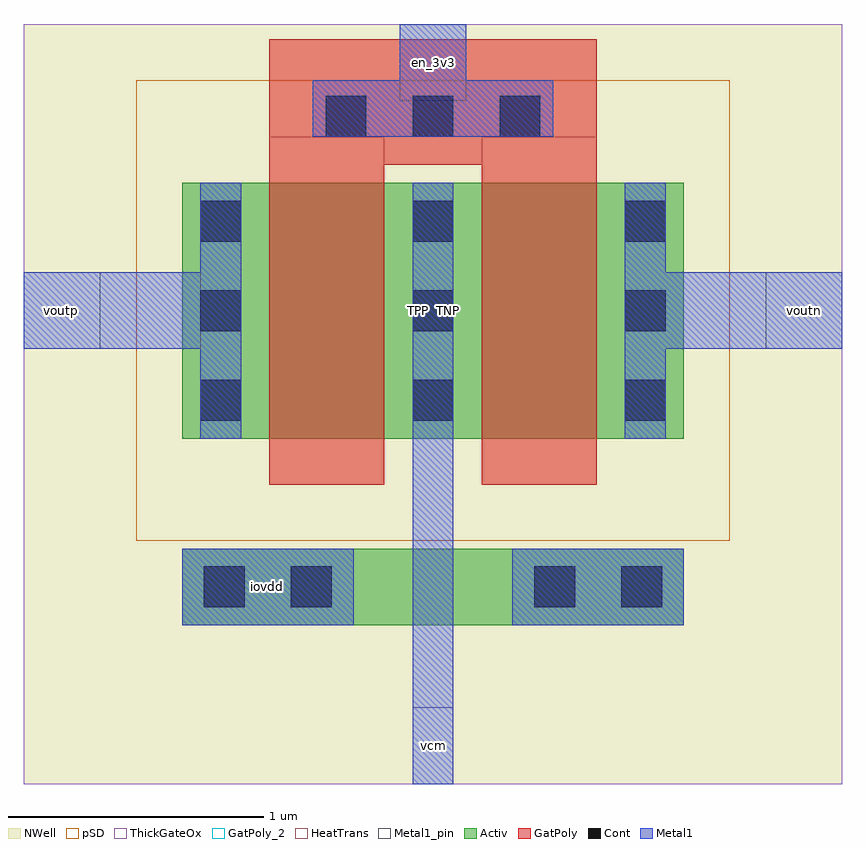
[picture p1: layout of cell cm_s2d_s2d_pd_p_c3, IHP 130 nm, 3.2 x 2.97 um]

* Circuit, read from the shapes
.subckt cm_s2d_s2d_pd_p_c3 en_3v3 iovdd vcm voutn voutp
XM1 vcm en_3v3 voutp iovdd sg13_hv_pmos w=1u l=0.45u
XM2 voutn en_3v3 vcm iovdd sg13_hv_pmos w=1u l=0.45u
.ends

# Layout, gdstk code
import gdstk
lib = gdstk.Library(unit=1e-6, precision=1e-09)
def R(c, l, rs):  # rectangles x0, y0, x1, y1
    for r in rs: c.add(gdstk.rectangle(r[:2], r[2:], *l))
def A(c, l, x, y, w, h, nx, ny, dx, dy):  # array of equal rectangles
    R(c, l, [(x+i*dx, y+j*dy, x+i*dx+w, y+j*dy+h) for i in range(nx) for j in range(ny)])
Activ = (1, 0)
GatPoly = (5, 0)
GatPoly_2 = (5, 2)
Cont = (6, 0)
Metal1 = (8, 0)
Metal1_pin = (8, 2)
pSD = (14, 0)
NWell = (31, 0)
ThickGateOx = (44, 0)
HeatTrans = (51, 0)

cm_s2d_pmoshv_w2_l0p45_n = lib.new_cell('cm_s2d_pmosHV_w2_l0p45_ng2')
A(cm_s2d_pmoshv_w2_l0p45_n, Activ, 0, 0, 0.3, 0.3, 3, 1, 0.83, 0)
R(cm_s2d_pmoshv_w2_l0p45_n, Activ, [(0,0,1.96,1)])
R(cm_s2d_pmoshv_w2_l0p45_n, GatPoly, [(0.34,-0.18,0.79,1.18), (1.17,-0.18,1.62,1.18)])
R(cm_s2d_pmoshv_w2_l0p45_n, GatPoly_2, [(0.34,-0.18,0.79,1.18)])
A(cm_s2d_pmoshv_w2_l0p45_n, Cont, 0.07, 0.07, 0.16, 0.16, 3, 3, 0.83, 0.35)
A(cm_s2d_pmoshv_w2_l0p45_n, Metal1, 0.07, 0, 0.16, 1, 3, 1, 0.83, 0)
R(cm_s2d_pmoshv_w2_l0p45_n, Metal1_pin, [(0.07,0,0.23,1), (0.9,0,1.06,1)])
R(cm_s2d_pmoshv_w2_l0p45_n, pSD, [(-0.18,-0.4,2.14,1.4)])
R(cm_s2d_pmoshv_w2_l0p45_n, NWell, [(-0.62,-0.62,2.58,1.62)])
R(cm_s2d_pmoshv_w2_l0p45_n, ThickGateOx, [(-0.62,-0.62,2.58,1.62)])
R(cm_s2d_pmoshv_w2_l0p45_n, HeatTrans, [(0.34,-0.18,0.79,1.18), (1.17,-0.18,1.62,1.18)])
cm_s2d_pmoshv_w2_l0p45_n.add(gdstk.Label('pmosHV', (0.565,0.5), layer=63, texttype=0))
cm_s2d_pmoshv_w2_l0p45_n.add(gdstk.Label('pmos', (0.565,0.5), layer=51, texttype=0))
cm_s2d_pmoshv_w2_l0p45_n.add(gdstk.Label('pmos', (1.395,0.5), layer=51, texttype=0))

cm_s2d_s2d_pd_p_c3 = lib.new_cell('cm_s2d_s2d_pd_p_c3')
R(cm_s2d_s2d_pd_p_c3, Activ, [(0.62,0.62,2.58,0.92)])
R(cm_s2d_s2d_pd_p_c3, GatPoly, [(0.96,2.35,1.41,2.91), (1.79,2.35,2.24,2.91), (1.41,2.42,1.79,2.91)])
A(cm_s2d_s2d_pd_p_c3, Cont, 1.18, 2.53, 0.16, 0.16, 3, 1, 0.34, 0)
R(cm_s2d_s2d_pd_p_c3, Cont, [(0.705,0.69,0.865,0.85), (1.045,0.69,1.205,0.85), (1.995,0.69,2.155,0.85), (2.335,0.69,2.495,0.85)])
R(cm_s2d_s2d_pd_p_c3, Metal1, [(1.52,0,1.68,1.35), (0.62,0.62,1.29,0.92), (1.91,0.62,2.58,0.92), (0,1.7,0.85,2), (2.35,1.7,3.2,2), (1.13,2.53,2.07,2.75), (1.47,2.53,1.73,2.97)])
R(cm_s2d_s2d_pd_p_c3, Metal1_pin, [(1.52,0,1.68,0.3), (0.62,0.62,1.29,0.92), (0,1.7,0.3,2), (2.9,1.7,3.2,2), (1.47,2.67,1.73,2.97)])
R(cm_s2d_s2d_pd_p_c3, NWell, [(0,0,3.2,2.97)])
R(cm_s2d_s2d_pd_p_c3, ThickGateOx, [(0,0,3.2,2.97)])
cm_s2d_s2d_pd_p_c3.add(gdstk.Reference(cm_s2d_pmoshv_w2_l0p45_n, (0.62,1.35)))
cm_s2d_s2d_pd_p_c3.add(gdstk.Label('TPP  TNP', (1.6,1.85), layer=63, texttype=0))
cm_s2d_s2d_pd_p_c3.add(gdstk.Label('iovdd', (0.955,0.77), layer=8, texttype=25))
cm_s2d_s2d_pd_p_c3.add(gdstk.Label('en_3v3', (1.6,2.82), layer=8, texttype=25))
cm_s2d_s2d_pd_p_c3.add(gdstk.Label('vcm', (1.6,0.15), layer=8, texttype=25))
cm_s2d_s2d_pd_p_c3.add(gdstk.Label('voutp', (0.15,1.85), layer=8, texttype=25))
cm_s2d_s2d_pd_p_c3.add(gdstk.Label('voutn', (3.05,1.85), layer=8, texttype=25))

lib.write_gds('cm_s2d_s2d_pd_p_c3.gds')
